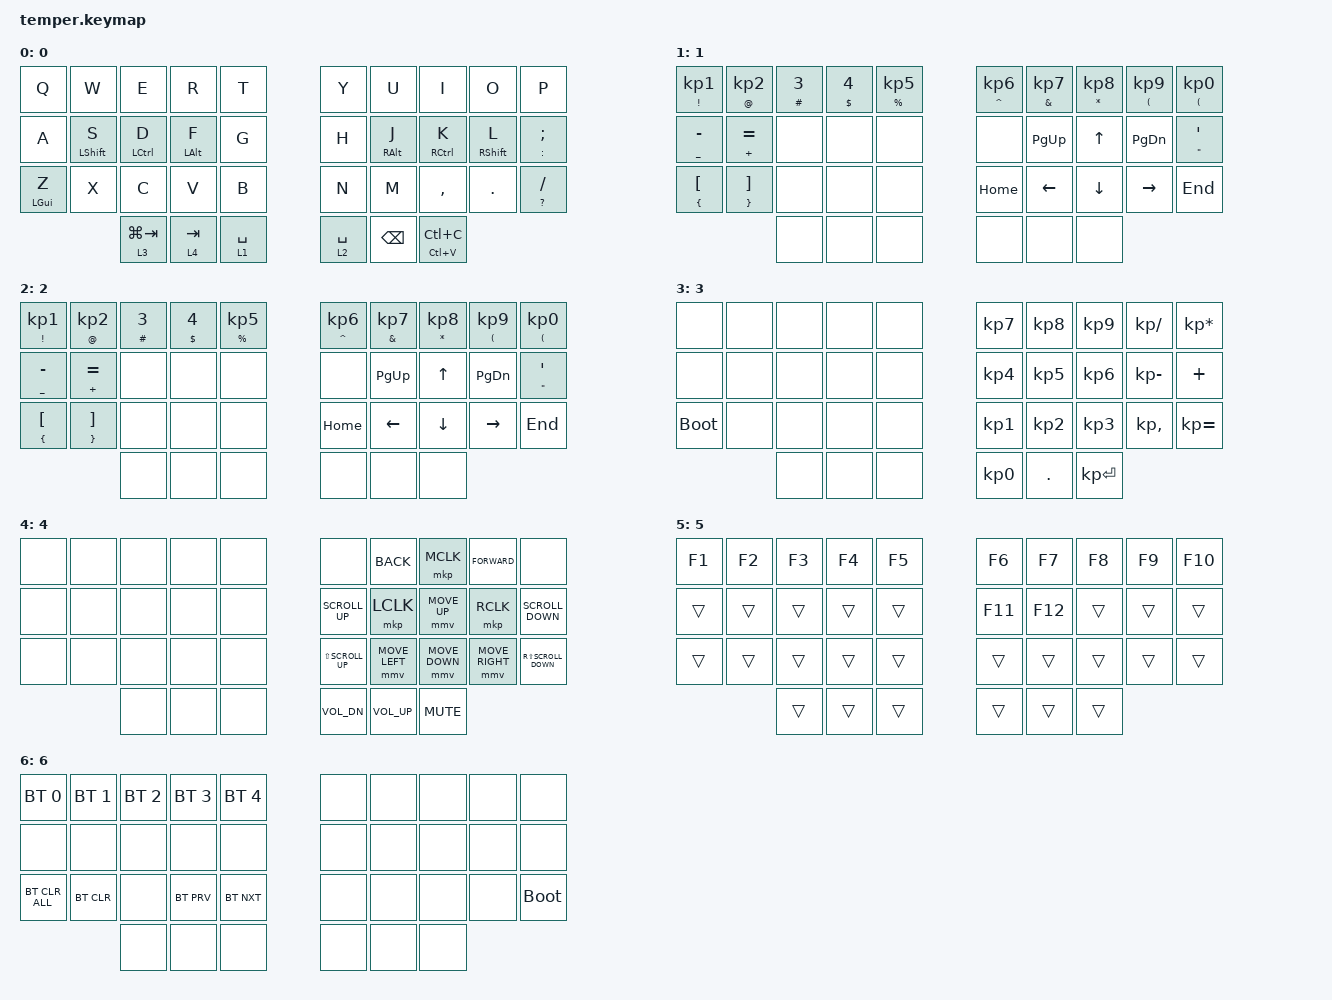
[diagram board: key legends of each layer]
/*
 * Copyright (c) 2020 The ZMK Contributors
 *
 * SPDX-License-Identifier: MIT
 */

#include <behaviors/mouse_keys.dtsi>
#include <behaviors.dtsi>
#include <dt-bindings/zmk/bt.h>
#include <dt-bindings/zmk/keys.h>
#include <dt-bindings/zmk/mouse.h>

#define DEFAULT_L 0
#define SYMBOLS_L 1
#define ARROWS_L  2
#define NUMBERS_L 3

&mt {
    tapping-term-ms = <200>;
    flavor = "tap-preferred";
    hold-trigger-on-release;
};

/ {
    behaviors {
        hm: homerow_mods {
            compatible = "zmk,behavior-hold-tap";
            label = "HOMEROW_MODS";
            #binding-cells = <2>;
            tapping-term-ms = <100>;
            quick-tap-ms = <75>;
            flavor = "tap-preferred";
            bindings = <&kp>, <&kp>;
        };

        mmv {
            compatible = "zmk,behavior-mouse-move";  // Added compatible property
            acceleration-exponent = <1>;            // 1
            time-to-max-speed-ms = <900>;          // 40
            delay-ms = <0>;                        // 0
        };
    };

    combos {
        compatible = "zmk,combos";

        a {
            bindings = <&mt GRAVE ESCAPE>;
            key-positions = <0 1>;
        };

        b {
            bindings = <&kp CLCK>;
            key-positions = <10 11 12>;
        };

        d {
            bindings = <&kp DEL>;
            key-positions = <8 9>;
        };

        e {
            bindings = <&kp ENTER>;
            key-positions = <18 17>;
        };

        h {
            bindings = <&sys_reset>;
            key-positions = <1 12 13 24>;
        };

        j {
            bindings = <&sys_reset>;
            key-positions = <17 8 16 25>;
        };

        Backslash_pipe {
            bindings = <&mt PIPE BACKSLASH>;
            key-positions = <29 28>;
        };

        print_screen {
            bindings = <&screenshot>;
            key-positions = <20 21 22>;
        };

        num_layer {
            bindings = <&to 3>;
            key-positions = <6 7 5>;
        };

        bt_layer {
            bindings = <&to 6>;
            key-positions = <4 3 2>;
        };

        default_layer {
            bindings = <&to 0>;
            key-positions = <15 16 17 18>;
        };

        f_layer {
            bindings = <&to 5>;
            key-positions = <14 13 12 11>;
        };
    };

    macros {
        screenshot: screenshot {
            compatible = "zmk,behavior-macro";
            #binding-cells = <0>;
            bindings =
                <&macro_press>,
                <&kp LS(LEFT_GUI)>,
                <&macro_tap>,
                <&kp S>,
                <&macro_release>,
                <&kp LS(LEFT_GUI)>;

            label = "SCREENSHOT";
        };
    };

    keymap {
        compatible = "zmk,keymap";

        default_layer {
            label = "0";
            bindings = <
  &kp Q           &kp W             &kp E          &kp R           &kp T          &kp Y        &kp U            &kp I            &kp O              &kp P
  &kp A           &hm LEFT_SHIFT S  &hm LCTRL D    &hm LEFT_ALT F  &kp G          &kp H        &hm RIGHT_ALT J  &hm RCTRL K      &hm RIGHT_SHIFT L  &mt COLON SEMICOLON
  &hm LEFT_GUI Z  &kp X             &kp C          &kp V           &kp B          &kp N        &kp M            &kp COMMA        &kp DOT            &mt QUESTION SLASH
                                    &lt 3 LG(TAB)  &lt 4 TAB       &lt 1 SPACE    &lt 2 SPACE  &kp BACKSPACE    &mt LC(V) LC(C)
            >;
        };

        arrow_numbers {
            label = "1";
            bindings = <
  &mt EXCLAMATION KP_NUMBER_1  &mt AT_SIGN KP_NUMBER_2        &mt HASH NUMBER_3  &mt DOLLAR NUMBER_4  &mt PERCENT KP_NUMBER_5    &mt CARET KP_NUMBER_6  &mt AMPERSAND KP_NUMBER_7  &mt ASTERISK KP_NUMBER_8  &mt LEFT_PARENTHESIS KP_NUMBER_9  &mt LEFT_PARENTHESIS KP_NUMBER_0
  &mt UNDERSCORE MINUS         &mt PLUS EQUAL                 &none              &none                &none                      &none                  &kp PAGE_UP                &kp UP_ARROW              &kp PAGE_DOWN                     &mt DOUBLE_QUOTES SQT
  &mt LEFT_BRACE LEFT_BRACKET  &mt RIGHT_BRACE RIGHT_BRACKET  &none              &none                &none                      &kp HOME               &kp LEFT_ARROW             &kp DOWN                  &kp RIGHT_ARROW                   &kp END
                                                              &none              &none                &none                      &none                  &none                      &none
            >;
        };

        arrow_numbers2 {
            label = "2";
            bindings = <
  &mt EXCLAMATION KP_NUMBER_1  &mt AT_SIGN KP_NUMBER_2        &mt HASH NUMBER_3  &mt DOLLAR NUMBER_4  &mt PERCENT KP_NUMBER_5    &mt CARET KP_NUMBER_6  &mt AMPERSAND KP_NUMBER_7  &mt ASTERISK KP_NUMBER_8  &mt LEFT_PARENTHESIS KP_NUMBER_9  &mt LEFT_PARENTHESIS KP_NUMBER_0
  &mt UNDERSCORE MINUS         &mt PLUS EQUAL                 &none              &none                &none                      &none                  &kp PAGE_UP                &kp UP_ARROW              &kp PAGE_DOWN                     &mt DOUBLE_QUOTES SQT
  &mt LEFT_BRACE LEFT_BRACKET  &mt RIGHT_BRACE RIGHT_BRACKET  &none              &none                &none                      &kp HOME               &kp LEFT_ARROW             &kp DOWN                  &kp RIGHT_ARROW                   &kp END
                                                              &none              &none                &none                      &none                  &none                      &none
            >;
        };

        number_layer {
            label = "3";
            bindings = <
  &none        &none  &none  &none  &none    &kp KP_NUMBER_7  &kp KP_NUMBER_8  &kp KP_NUMBER_9  &kp KP_DIVIDE    &kp KP_MULTIPLY
  &none        &none  &none  &none  &none    &kp KP_NUMBER_4  &kp KP_NUMBER_5  &kp KP_NUMBER_6  &kp KP_SUBTRACT  &kp PLUS
  &bootloader  &none  &none  &none  &none    &kp KP_NUMBER_1  &kp KP_NUMBER_2  &kp KP_NUMBER_3  &kp KP_COMMA     &kp KP_EQUAL
                      &none  &none  &none    &kp KP_NUMBER_0  &kp PERIOD       &kp KP_ENTER
            >;
        };

        mouse_layer {
            label = "4";
            bindings = <
  &none  &none  &none  &none  &none    &none                &kp K_BACK      &mkp MCLK       &kp K_FORWARD    &none
  &none  &none  &none  &none  &none    &kp K_SCROLL_UP      &mkp LCLK       &mmv MOVE_UP    &mkp RCLK        &kp K_SCROLL_DOWN
  &none  &none  &none  &none  &none    &kp LS(K_SCROLL_UP)  &mmv MOVE_LEFT  &mmv MOVE_DOWN  &mmv MOVE_RIGHT  &kp RS(K_SCROLL_DOWN)
                &none  &none  &none    &kp C_VOL_DN         &kp C_VOL_UP    &kp K_MUTE
            >;
        };

        f_layer {
            label = "5";
            bindings = <
  &kp F1  &kp F2  &kp F3  &kp F4  &kp F5    &kp F6   &kp F7   &kp F8  &kp F9  &kp F10
  &trans  &trans  &trans  &trans  &trans    &kp F11  &kp F12  &trans  &trans  &trans
  &trans  &trans  &trans  &trans  &trans    &trans   &trans   &trans  &trans  &trans
                  &trans  &trans  &trans    &trans   &trans   &trans
            >;
        };

        bt_layer {
            label = "6";
            bindings = <
  &bt BT_SEL 0    &bt BT_SEL 1  &bt BT_SEL 2  &bt BT_SEL 3  &bt BT_SEL 4    &none  &none  &none  &none  &none
  &none           &none         &none         &none         &none           &none  &none  &none  &none  &none
  &bt BT_CLR_ALL  &bt BT_CLR    &none         &bt BT_PRV    &bt BT_NXT      &none  &none  &none  &none  &bootloader
                                &none         &none         &none           &none  &none  &none
            >;
        };
    };
};
